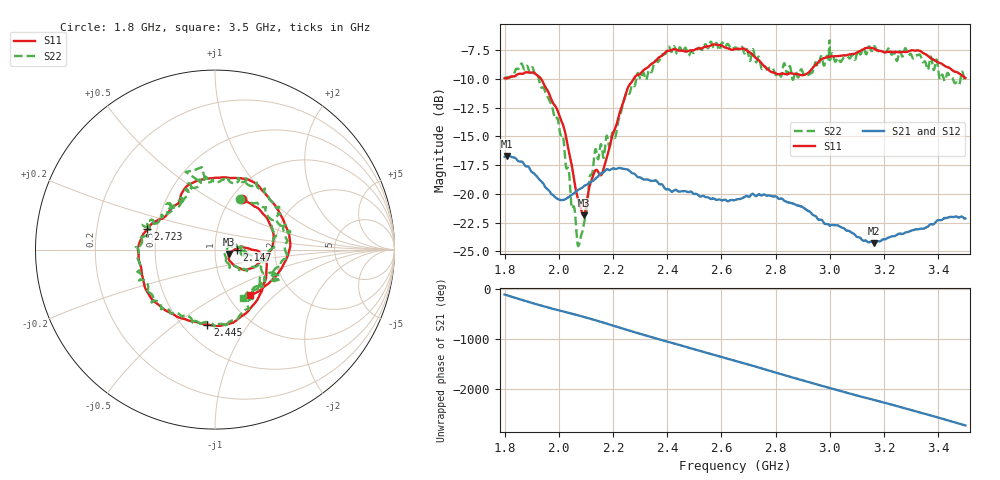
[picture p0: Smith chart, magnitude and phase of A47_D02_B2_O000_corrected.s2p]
! Created with skrf 1.9.0 (http://scikit-rf.org).
# Hz S RI R 50.0
!freq ReS11 ImS11 ReS21 ImS21 ReS12 ImS12 ReS22 ImS22
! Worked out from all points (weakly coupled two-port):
!   1601 points, 1.8 GHz to 3.5 GHz, reference 50 ohm
!   highest |S21| = -16.69 dB at 1.808 GHz (marker M1); lowest = -24.3 dB at 3.163 GHz (marker M2)
!   lowest |S11| = -21.9 dB at 2.092 GHz (marker M3), VSWR 1.18, Z = 58.3 - j2.81 ohm
!   |S11| at or under -10 dB: 1.935 GHz to 2.276 GHz (340.7 MHz wide, 16.2 % of centre)
!   |S22| runs from -24.5 to -6.6 dB; largest |S21 - S12| = 0.0024
!   S11 on the Smith chart (normalised r, x): 1.8 GHz: 1.12, +0.70; 2.147 GHz: 1.28, -0.00; 2.445 GHz: 0.65, -0.66; 2.723 GHz: 0.44, +0.12; 3.5 GHz: 1.26, -0.71
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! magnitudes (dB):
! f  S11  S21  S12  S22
! 1.8 GHz  -9.9  -16.8  -16.8  -10.0
! 1.808 GHz  -9.9  -16.7  -16.7  -9.8
! 1.864 GHz  -9.6  -17.2  -17.3  -8.7
! 1.952 GHz  -10.8  -19.5  -19.4  -11.2
! 2.018 GHz  -14.2  -20.5  -20.5  -15.3
! 2.07 GHz  -20.3  -19.7  -19.7  -24.5
! 2.084 GHz  -21.5  -19.5  -19.5  -23.5
! 2.092 GHz  -21.9  -19.3  -19.4  -22.6
! 2.129 GHz  -18.2  -18.8  -18.8  -17.0
! 2.147 GHz  -18.2  -18.4  -18.4  -16.8
! 2.209 GHz  -14.2  -17.8  -17.8  -15.0
! 2.258 GHz  -10.6  -17.9  -17.9  -11.3
! 2.367 GHz  -8.2  -19.1  -19.0  -8.5
! 2.445 GHz  -7.5  -19.8  -19.8  -7.3
! 2.65 GHz  -7.4  -20.5  -20.5  -7.2
! 2.723 GHz  -8.1  -20.1  -20.1  -8.2
! 2.807 GHz  -9.6  -20.3  -20.3  -9.5
! 2.934 GHz  -9.1  -21.7  -21.7  -9.5
! 3.163 GHz  -7.4  -24.3  -24.2  -7.2
! 3.217 GHz  -7.6  -23.8  -23.8  -7.4
! 3.33 GHz  -7.5  -23.0  -23.0  -7.9
! 3.5 GHz  -9.9  -22.1  -22.1  -10.2
